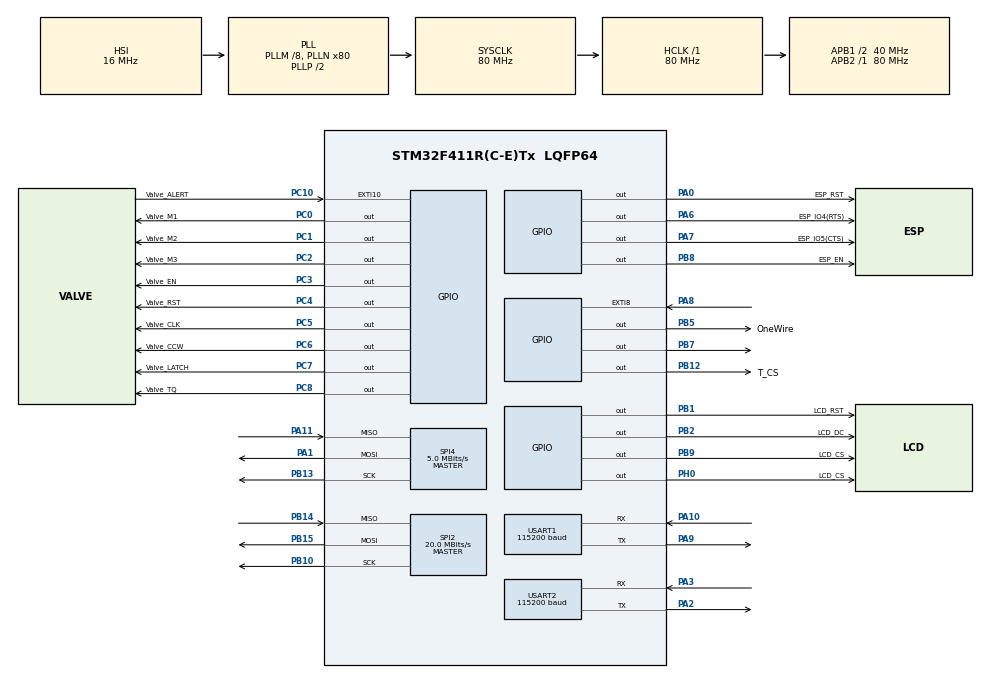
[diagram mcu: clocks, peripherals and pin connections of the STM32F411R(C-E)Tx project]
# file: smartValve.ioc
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Dma.Request0=USART1_RX
Dma.Request1=USART1_TX
Dma.Request2=USART2_TX
Dma.Request3=SPI2_TX
Dma.Request4=SPI4_RX
Dma.Request5=SPI4_TX
Dma.SPI2_TX.3.Direction=DMA_MEMORY_TO_PERIPH
Dma.SPI2_TX.3.FIFOMode=DMA_FIFOMODE_DISABLE
Dma.SPI2_TX.3.Instance=DMA1_Stream4
Dma.SPI2_TX.3.MemDataAlignment=DMA_MDATAALIGN_BYTE
Dma.SPI2_TX.3.MemInc=DMA_MINC_ENABLE
Dma.SPI2_TX.3.Mode=DMA_NORMAL
Dma.SPI2_TX.3.PeriphDataAlignment=DMA_PDATAALIGN_BYTE
Dma.SPI2_TX.3.PeriphInc=DMA_PINC_DISABLE
Dma.SPI2_TX.3.Priority=DMA_PRIORITY_LOW
Dma.SPI4_RX.4.Direction=DMA_PERIPH_TO_MEMORY
Dma.SPI4_RX.4.FIFOMode=DMA_FIFOMODE_DISABLE
Dma.SPI4_RX.4.Instance=DMA2_Stream0
Dma.SPI4_RX.4.MemDataAlignment=DMA_MDATAALIGN_BYTE
Dma.SPI4_RX.4.MemInc=DMA_MINC_ENABLE
Dma.SPI4_RX.4.Mode=DMA_NORMAL
Dma.SPI4_RX.4.PeriphDataAlignment=DMA_PDATAALIGN_BYTE
Dma.SPI4_RX.4.PeriphInc=DMA_PINC_DISABLE
Dma.SPI4_RX.4.Priority=DMA_PRIORITY_LOW
Dma.SPI4_TX.5.Direction=DMA_MEMORY_TO_PERIPH
Dma.SPI4_TX.5.FIFOMode=DMA_FIFOMODE_DISABLE
Dma.SPI4_TX.5.Instance=DMA2_Stream1
Dma.SPI4_TX.5.MemDataAlignment=DMA_MDATAALIGN_BYTE
Dma.SPI4_TX.5.MemInc=DMA_MINC_ENABLE
Dma.SPI4_TX.5.Mode=DMA_NORMAL
Dma.SPI4_TX.5.PeriphDataAlignment=DMA_PDATAALIGN_BYTE
Dma.SPI4_TX.5.PeriphInc=DMA_PINC_DISABLE
Dma.SPI4_TX.5.Priority=DMA_PRIORITY_LOW
Dma.USART1_RX.0.Direction=DMA_PERIPH_TO_MEMORY
Dma.USART1_RX.0.FIFOMode=DMA_FIFOMODE_DISABLE
Dma.USART1_RX.0.Instance=DMA2_Stream5
Dma.USART1_RX.0.MemDataAlignment=DMA_MDATAALIGN_BYTE
Dma.USART1_RX.0.MemInc=DMA_MINC_ENABLE
Dma.USART1_RX.0.Mode=DMA_NORMAL
Dma.USART1_RX.0.PeriphDataAlignment=DMA_PDATAALIGN_BYTE
Dma.USART1_RX.0.PeriphInc=DMA_PINC_DISABLE
Dma.USART1_RX.0.Priority=DMA_PRIORITY_VERY_HIGH
Dma.USART1_TX.1.Direction=DMA_MEMORY_TO_PERIPH
Dma.USART1_TX.1.FIFOMode=DMA_FIFOMODE_DISABLE
Dma.USART1_TX.1.Instance=DMA2_Stream7
Dma.USART1_TX.1.MemDataAlignment=DMA_MDATAALIGN_BYTE
Dma.USART1_TX.1.MemInc=DMA_MINC_ENABLE
Dma.USART1_TX.1.Mode=DMA_NORMAL
Dma.USART1_TX.1.PeriphDataAlignment=DMA_PDATAALIGN_BYTE
Dma.USART1_TX.1.PeriphInc=DMA_PINC_DISABLE
Dma.USART1_TX.1.Priority=DMA_PRIORITY_VERY_HIGH
Dma.USART2_TX.2.Direction=DMA_MEMORY_TO_PERIPH
Dma.USART2_TX.2.FIFOMode=DMA_FIFOMODE_DISABLE
Dma.USART2_TX.2.Instance=DMA1_Stream6
Dma.USART2_TX.2.MemDataAlignment=DMA_MDATAALIGN_BYTE
Dma.USART2_TX.2.MemInc=DMA_MINC_ENABLE
Dma.USART2_TX.2.Mode=DMA_NORMAL
Dma.USART2_TX.2.PeriphDataAlignment=DMA_PDATAALIGN_BYTE
Dma.USART2_TX.2.PeriphInc=DMA_PINC_DISABLE
Dma.USART2_TX.2.Priority=DMA_PRIORITY_LOW
FREERTOS.Events01=UART_RTS,Dynamic,NULL;UART_CTS,Dynamic,NULL;ESP_RECEIVE,Dynamic,NULL;ESP_SEND,Dynamic,NULL;TOUCH_SCREEN_FLAG,Dynamic,NULL
FREERTOS.Mutexes01=valveMutex,Dynamic,NULL,Depleted;uartMutex,Dynamic,NULL,Depleted;ds18b20Mutex,Dynamic,NULL,Depleted;HUART1,Dynamic,NULL,Depleted;HUART2,Dynamic,NULL,Depleted
FREERTOS.Queues01=ESP_BUFFER_RE,16,uint32_t,0,Dynamic,NULL,NULL;ESP_BUFFER_TR,16,uint32_t,0,Dynamic,NULL,NULL;VALVE_BUFFER_RE,16,uint32_t,0,Dynamic,NULL,NULL;VALVE_BUFFER_TR,16,uint32_t,0,Dynamic,NULL,NULL;SerialBuffer,500,uint32_t,0,Dynamic,NULL,NULL;DS18B20_BUFFER,16,uint32_t,0,Dynamic,NULL,NULL;LCD_BUFFER_TRANSMIT,100,uint32_t,0,Dynamic,NULL,NULL
FREERTOS.Tasks01=Main,24,128,mainFunction,Default,NULL,Dynamic,NULL,NULL;Valve,8,128,valveFunction,Default,NULL,Dynamic,NULL,NULL;Uart,24,1024,uartFunction,Default,NULL,Dynamic,NULL,NULL;ds18b20,8,128,ds18b20Function,Default,NULL,Dynamic,NULL,NULL;HuartWorkerTran,12,128,HUART_WORKER_TRANSMIT,Default,NULL,Dynamic,NULL,NULL;HuartWorkerRece,12,128,HUART_WORKER_RECIVE,Default,NULL,Dynamic,NULL,NULL;ds18b20WorkerTr,9,128,DS18B20_WORKER_TR,Default,NULL,Dynamic,NULL,NULL;VALVE_WORKER_RE,11,128,StartTask08,Default,NULL,Dynamic,NULL,NULL;ScreenWorkerRec,24,128,SCREEN_WORKER_RECEIVE,Default,NULL,Dynamic,NULL,NULL;ScreenWorkerTra,24,128,SCREEN_WORKER_TRANSMIT,Default,NULL,Dynamic,NULL,NULL;Backup,8,128,BACKUP_FUNCTION,Default,NULL,Dynamic,NULL,NULL;BackupWorkerRec,8,128,BACKUP_WORKER_RECEIVE,Default,NULL,Dynamic,NULL,NULL;BackupWorkerTra,8,128,BACKUP_WORKER_TRANSMIT,Default,NULL,Dynamic,NULL,NULL;ValveWorkerRece,11,128,VALVE_WORKER_RECEIVE,Default,NULL,Dynamic,NULL,NULL;Screen,8,4048,ScreenFunction,Default,NULL,Dynamic,NULL,NULL;TouchScreen,48,128,TouchScreenFunction,Default,NULL,Dynamic,NULL,NULL;SerialPrint,24,128,PRINT,Default,NULL,Dynamic,NULL,NULL
FREERTOS.configTOTAL_HEAP_SIZE=100000
FREERTOS.configUSE_NEWLIB_REENTRANT=1
Mcu.Family=STM32F4
Mcu.Name=STM32F411R(C-E)Tx
Mcu.Package=LQFP64
NVIC.DMA1_Stream4_IRQn=true\:5\:0\:false\:false\:true\:true\:false\:true\:true
NVIC.DMA1_Stream6_IRQn=true\:5\:0\:true\:false\:true\:true\:false\:true\:true
NVIC.DMA2_Stream0_IRQn=true\:5\:0\:false\:false\:true\:true\:false\:true\:true
NVIC.DMA2_Stream1_IRQn=true\:5\:0\:false\:false\:true\:true\:false\:true\:true
NVIC.DMA2_Stream5_IRQn=true\:6\:0\:true\:false\:true\:true\:false\:true\:true
NVIC.DMA2_Stream7_IRQn=true\:6\:0\:true\:false\:true\:true\:false\:true\:true
NVIC.EXTI15_10_IRQn=true\:8\:0\:true\:false\:true\:true\:true\:true\:true
NVIC.EXTI9_5_IRQn=true\:5\:0\:true\:false\:true\:true\:true\:true\:true
NVIC.FLASH_IRQn=true\:5\:0\:false\:false\:true\:true\:true\:true\:true
NVIC.PVD_IRQn=true\:5\:0\:false\:false\:true\:true\:true\:true\:true
NVIC.PriorityGroup=NVIC_PRIORITYGROUP_4
NVIC.RCC_IRQn=true\:5\:0\:false\:false\:true\:true\:true\:false\:true
NVIC.SPI2_IRQn=true\:5\:0\:false\:false\:true\:true\:true\:true\:true
NVIC.TIM1_TRG_COM_TIM11_IRQn=true\:7\:0\:true\:false\:true\:true\:true\:true\:true
NVIC.TIM1_UP_TIM10_IRQn=true\:5\:0\:true\:false\:true\:false\:true\:true\:true
NVIC.TIM2_IRQn=true\:7\:0\:true\:false\:true\:true\:true\:true\:true
NVIC.TIM3_IRQn=true\:7\:0\:true\:false\:true\:true\:true\:true\:true
NVIC.TimeBase=TIM1_UP_TIM10_IRQn
NVIC.TimeBaseIP=TIM1
NVIC.USART1_IRQn=true\:5\:0\:true\:false\:true\:true\:true\:true\:true
NVIC.USART2_IRQn=true\:5\:0\:true\:false\:true\:true\:true\:true\:true
PA0-WKUP.GPIO_Label=ESP_RST
PA0-WKUP.Signal=GPIO_Output
PA1.Mode=Full_Duplex_Master
PA1.Signal=SPI4_MOSI
PA10.Mode=Asynchronous
PA10.Signal=USART1_RX
PA11.Mode=Full_Duplex_Master
PA11.Signal=SPI4_MISO
PA13.Mode=JTAG_5_pins
PA13.Signal=SYS_JTMS-SWDIO
PA14.Mode=JTAG_5_pins
PA14.Signal=SYS_JTCK-SWCLK
PA15.GPIO_Label=LCD_T_DIN
PA15.Mode=JTAG_5_pins
PA15.Signal=SYS_JTDI
PA2.Mode=Asynchronous
PA2.Signal=USART2_TX
PA3.Mode=Asynchronous
PA3.Signal=USART2_RX
PA6.GPIO_Label=ESP_IO4(RTS)
PA6.GPIO_ModeDefaultOutputPP=GPIO_MODE_OUTPUT_OD
PA6.GPIO_PuPd=GPIO_NOPULL
PA6.Signal=GPIO_Output
PA7.GPIO_Label=ESP_IO5(CTS)
PA7.GPIO_ModeDefaultOutputPP=GPIO_MODE_OUTPUT_OD
PA7.GPIO_PuPd=GPIO_NOPULL
PA7.Signal=GPIO_Output
PA8.GPIO_ModeDefaultEXTI=GPIO_MODE_IT_FALLING
PA8.GPIO_PuPd=GPIO_PULLUP
PA8.Signal=GPXTI8
PA9.Mode=Asynchronous
PA9.Signal=USART1_TX
PB1.GPIO_Label=LCD_RST
PB1.Signal=GPIO_Output
PB10.Mode=Full_Duplex_Master
PB10.Signal=SPI2_SCK
PB12.GPIO_Label=T_CS
PB12.Signal=GPIO_Output
PB13.Mode=Full_Duplex_Master
PB13.Signal=SPI4_SCK
PB14.Mode=Full_Duplex_Master
PB14.Signal=SPI2_MISO
PB15.Mode=Full_Duplex_Master
PB15.Signal=SPI2_MOSI
PB2.GPIO_Label=LCD_DC
PB2.Signal=GPIO_Output
PB3.Mode=JTAG_5_pins
PB3.Signal=SYS_JTDO-SWO
PB4.Mode=JTAG_5_pins
PB4.Signal=SYS_JTRST
PB5.GPIO_Label=OneWire
PB5.GPIO_ModeDefaultOutputPP=GPIO_MODE_OUTPUT_OD
PB5.GPIO_PuPd=GPIO_NOPULL
PB5.GPIO_Speed=GPIO_SPEED_FREQ_HIGH
PB5.PinState=GPIO_PIN_SET
PB5.Signal=GPIO_Output
PB7.Signal=GPIO_Output
PB8.GPIO_Label=ESP_EN
PB8.Signal=GPIO_Output
PB9.GPIO_Label=LCD_CS
PB9.Signal=GPIO_Output
PC0.GPIO_Label=Valve_M1
PC0.Signal=GPIO_Output
PC1.GPIO_Label=Valve_M2
PC1.Signal=GPIO_Output
PC10.GPIO_Label=Valve_ALERT
PC10.Signal=GPXTI10
PC2.GPIO_Label=Valve_M3
PC2.Signal=GPIO_Output
PC3.GPIO_Label=Valve_EN
PC3.Signal=GPIO_Output
PC4.GPIO_Label=Valve_RST
PC4.Signal=GPIO_Output
PC5.GPIO_Label=Valve_CLK
PC5.Signal=GPIO_Output
PC6.GPIO_Label=Valve_CCW
PC6.Signal=GPIO_Output
PC7.GPIO_Label=Valve_LATCH
PC7.Signal=GPIO_Output
PC8.GPIO_Label=Valve_TQ
PC8.Signal=GPIO_Output
PH0\ -\ OSC_IN.GPIO_Label=LCD_CS
PH0\ -\ OSC_IN.Signal=GPIO_Output
ProjectManager.HeapSize=0x200
ProjectManager.StackSize=0x400
ProjectManager.TargetToolchain=STM32CubeIDE
RCC.48MHZClocksFreq_Value=40000000
RCC.AHBFreq_Value=80000000
RCC.APB1CLKDivider=RCC_HCLK_DIV2
RCC.APB1Freq_Value=40000000
RCC.APB1TimFreq_Value=80000000
RCC.APB2Freq_Value=80000000
RCC.APB2TimFreq_Value=80000000
RCC.CortexFreq_Value=80000000
RCC.HCLKFreq_Value=80000000
RCC.HSE_VALUE=25000000
RCC.HSI_VALUE=16000000
RCC.LSE_VALUE=32768
RCC.PLLM=8
RCC.PLLN=80
RCC.SYSCLKFreq_VALUE=80000000
RCC.SYSCLKSource=RCC_SYSCLKSOURCE_PLLCLK
RCC.VCOOutputFreq_Value=160000000
SPI2.CalculateBaudRate=20.0 MBits/s
SPI2.Direction=SPI_DIRECTION_2LINES
SPI2.Mode=SPI_MODE_MASTER
SPI2.VirtualType=VM_MASTER
SPI4.BaudRatePrescaler=SPI_BAUDRATEPRESCALER_16
SPI4.CalculateBaudRate=5.0 MBits/s
SPI4.Direction=SPI_DIRECTION_2LINES
SPI4.Mode=SPI_MODE_MASTER
SPI4.VirtualType=VM_MASTER
STMicroelectronics.X-CUBE-TOUCHGFX.4.25.0_IsPackSelfContextualization=true
TIM10.Period=29999
TIM10.Prescaler=59999
TIM2.Period=79999
TIM2.Prescaler=59999
TIM3.Period=65535
TIM3.Prescaler=15999
USART1.BaudRate=115200
USART1.VirtualMode=VM_ASYNC
USART2.BaudRate=115200
USART2.VirtualMode=VM_ASYNC
VP_CRC_VS_CRC.Mode=CRC_Activate
VP_FREERTOS_VS_CMSIS_V2.Mode=CMSIS_V2
VP_SYS_VS_tim1.Mode=TIM1
VP_TIM10_VS_ClockSourceINT.Mode=Enable_Timer
VP_TIM11_VS_ClockSourceINT.Mode=Enable_Timer
VP_TIM2_VS_ClockSourceINT.Mode=Internal
VP_TIM3_VS_ClockSourceINT.Mode=Internal
board=custom

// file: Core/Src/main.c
/* USER CODE BEGIN Header */
/**
  ******************************************************************************
  * @file           : main.c
  * @brief          : Main program body
  ******************************************************************************
  * @attention
  *
  * Copyright (c) 2025 STMicroelectronics.
  * All rights reserved.
  *
  * This software is licensed under terms that can be found in the LICENSE file
  * in the root directory of this software component.
  * If no LICENSE file comes with this software, it is provided AS-IS.
  *
  ******************************************************************************
  */
/* USER CODE END Header */
#include "main.h"
#include "cmsis_os.h"

/* USER CODE BEGIN Includes */
#include "types.h"
#include "screen.h"
#include "valves.h"
#include "pumps.h"
#include "temperature_control.h"
#include "timer_us.h"
#include "DS18B20.h"
#include "GUI.h"
#include "test.h"
#include "lcd.h"
#include "FONT.h"
#include "temperature_control.h"
#include "stm32f4xx_hal_flash.h"
#include "serial_printing.h"
#include "esp.h"
#include "dma.h"
#include "home_page_layout.h"
/* USER CODE END Includes */

CRC_HandleTypeDef hcrc;

SPI_HandleTypeDef hspi2;
SPI_HandleTypeDef hspi4;
DMA_HandleTypeDef hdma_spi2_tx;
DMA_HandleTypeDef hdma_spi4_rx;
DMA_HandleTypeDef hdma_spi4_tx;

TIM_HandleTypeDef htim2;
TIM_HandleTypeDef htim3;
TIM_HandleTypeDef htim10;
TIM_HandleTypeDef htim11;

UART_HandleTypeDef huart1;
UART_HandleTypeDef huart2;
DMA_HandleTypeDef hdma_usart1_rx;
DMA_HandleTypeDef hdma_usart1_tx;
DMA_HandleTypeDef hdma_usart2_tx;

/* Definitions for Main */
osThreadId_t MainHandle;
const osThreadAttr_t Main_attributes = {
  .name = "Main",
  .stack_size = 128 * 4,
  .priority = (osPriority_t) osPriorityNormal,
};
/* Definitions for Valve */
osThreadId_t ValveHandle;
const osThreadAttr_t Valve_attributes = {
  .name = "Valve",
  .stack_size = 128 * 4,
  .priority = (osPriority_t) osPriorityLow,
};
/* Definitions for Uart */
osThreadId_t UartHandle;
const osThreadAttr_t Uart_attributes = {
  .name = "Uart",
  .stack_size = 1024 * 4,
  .priority = (osPriority_t) osPriorityNormal,
};
/* Definitions for ds18b20 */
osThreadId_t ds18b20Handle;
const osThreadAttr_t ds18b20_attributes = {
  .name = "ds18b20",
  .stack_size = 128 * 4,
  .priority = (osPriority_t) osPriorityLow,
};
/* Definitions for HuartWorkerTran */
osThreadId_t HuartWorkerTranHandle;
const osThreadAttr_t HuartWorkerTran_attributes = {
  .name = "HuartWorkerTran",
  .stack_size = 128 * 4,
  .priority = (osPriority_t) osPriorityLow4,
};
/* Definitions for HuartWorkerRece */
osThreadId_t HuartWorkerReceHandle;
const osThreadAttr_t HuartWorkerRece_attributes = {
  .name = "HuartWorkerRece",
  .stack_size = 128 * 4,
  .priority = (osPriority_t) osPriorityLow4,
};
/* Definitions for ds18b20WorkerTr */
osThreadId_t ds18b20WorkerTrHandle;
const osThreadAttr_t ds18b20WorkerTr_attributes = {
  .name = "ds18b20WorkerTr",
  .stack_size = 128 * 4,
  .priority = (osPriority_t) osPriorityLow1,
};
/* Definitions for VALVE_WORKER_RE */
osThreadId_t VALVE_WORKER_REHandle;
const osThreadAttr_t VALVE_WORKER_RE_attributes = {
  .name = "VALVE_WORKER_RE",
  .stack_size = 128 * 4,
  .priority = (osPriority_t) osPriorityLow3,
};
/* Definitions for ScreenWorkerRec */
osThreadId_t ScreenWorkerRecHandle;
const osThreadAttr_t ScreenWorkerRec_attributes = {
  .name = "ScreenWorkerRec",
  .stack_size = 128 * 4,
  .priority = (osPriority_t) osPriorityNormal,
};
/* Definitions for ScreenWorkerTra */
osThreadId_t ScreenWorkerTraHandle;
const osThreadAttr_t ScreenWorkerTra_attributes = {
  .name = "ScreenWorkerTra",
  .stack_size = 128 * 4,
  .priority = (osPriority_t) osPriorityNormal,
};
/* Definitions for Backup */
osThreadId_t BackupHandle;
const osThreadAttr_t Backup_attributes = {
  .name = "Backup",
  .stack_size = 128 * 4,
  .priority = (osPriority_t) osPriorityLow,
};
/* Definitions for BackupWorkerRec */
osThreadId_t BackupWorkerRecHandle;
const osThreadAttr_t BackupWorkerRec_attributes = {
  .name = "BackupWorkerRec",
  .stack_size = 128 * 4,
  .priority = (osPriority_t) osPriorityLow,
};
/* Definitions for BackupWorkerTra */
osThreadId_t BackupWorkerTraHandle;
const osThreadAttr_t BackupWorkerTra_attributes = {
  .name = "BackupWorkerTra",
  .stack_size = 128 * 4,
  .priority = (osPriority_t) osPriorityLow,
};
/* Definitions for ValveWorkerRece */
osThreadId_t ValveWorkerReceHandle;
const osThreadAttr_t ValveWorkerRece_attributes = {
  .name = "ValveWorkerRece",
  .stack_size = 128 * 4,
  .priority = (osPriority_t) osPriorityLow3,
};
/* Definitions for Screen */
osThreadId_t ScreenHandle;
const osThreadAttr_t Screen_attributes = {
  .name = "Screen",
  .stack_size = 4048 * 4,
  .priority = (osPriority_t) osPriorityLow,
};
/* Definitions for TouchScreen */
osThreadId_t TouchScreenHandle;
const osThreadAttr_t TouchScreen_attributes = {
  .name = "TouchScreen",
  .stack_size = 128 * 4,
  .priority = (osPriority_t) osPriorityRealtime,
};
/* Definitions for SerialPrint */
osThreadId_t SerialPrintHandle;
const osThreadAttr_t SerialPrint_attributes = {
  .name = "SerialPrint",
  .stack_size = 128 * 4,
  .priority = (osPriority_t) osPriorityNormal,
};
/* Definitions for ESP_BUFFER_RE */
osMessageQueueId_t ESP_BUFFER_REHandle;
const osMessageQueueAttr_t ESP_BUFFER_RE_attributes = {
  .name = "ESP_BUFFER_RE"
};
/* Definitions for ESP_BUFFER_TR */
osMessageQueueId_t ESP_BUFFER_TRHandle;
const osMessageQueueAttr_t ESP_BUFFER_TR_attributes = {
  .name = "ESP_BUFFER_TR"
};
/* Definitions for VALVE_BUFFER_RE */
osMessageQueueId_t VALVE_BUFFER_REHandle;
const osMessageQueueAttr_t VALVE_BUFFER_RE_attributes = {
  .name = "VALVE_BUFFER_RE"
};
/* Definitions for VALVE_BUFFER_TR */
osMessageQueueId_t VALVE_BUFFER_TRHandle;
const osMessageQueueAttr_t VALVE_BUFFER_TR_attributes = {
  .name = "VALVE_BUFFER_TR"
};
/* Definitions for SerialBuffer */
osMessageQueueId_t SerialBufferHandle;
const osMessageQueueAttr_t SerialBuffer_attributes = {
  .name = "SerialBuffer"
};
/* Definitions for DS18B20_BUFFER */
osMessageQueueId_t DS18B20_BUFFERHandle;
const osMessageQueueAttr_t DS18B20_BUFFER_attributes = {
  .name = "DS18B20_BUFFER"
};
/* Definitions for LCD_BUFFER_TRANSMIT */
osMessageQueueId_t LCD_BUFFER_TRANSMITHandle;
const osMessageQueueAttr_t LCD_BUFFER_TRANSMIT_attributes = {
  .name = "LCD_BUFFER_TRANSMIT"
};
/* Definitions for valveMutex */
osMutexId_t valveMutexHandle;
const osMutexAttr_t valveMutex_attributes = {
  .name = "valveMutex"
};
/* Definitions for uartMutex */
osMutexId_t uartMutexHandle;
const osMutexAttr_t uartMutex_attributes = {
  .name = "uartMutex"
};
/* Definitions for ds18b20Mutex */
osMutexId_t ds18b20MutexHandle;
const osMutexAttr_t ds18b20Mutex_attributes = {
  .name = "ds18b20Mutex"
};
/* Definitions for HUART1 */
osMutexId_t HUART1Handle;
const osMutexAttr_t HUART1_attributes = {
  .name = "HUART1"
};
/* Definitions for HUART2 */
osMutexId_t HUART2Handle;
const osMutexAttr_t HUART2_attributes = {
  .name = "HUART2"
};
/* Definitions for UART_RTS */
osEventFlagsId_t UART_RTSHandle;
const osEventFlagsAttr_t UART_RTS_attributes = {
  .name = "UART_RTS"
};
/* Definitions for UART_CTS */
osEventFlagsId_t UART_CTSHandle;
const osEventFlagsAttr_t UART_CTS_attributes = {
  .name = "UART_CTS"
};
/* Definitions for ESP_RECEIVE */
osEventFlagsId_t ESP_RECEIVEHandle;
const osEventFlagsAttr_t ESP_RECEIVE_attributes = {
  .name = "ESP_RECEIVE"
};
/* Definitions for ESP_SEND */
osEventFlagsId_t ESP_SENDHandle;
const osEventFlagsAttr_t ESP_SEND_attributes = {
  .name = "ESP_SEND"
};
/* Definitions for TOUCH_SCREEN_FLAG */
osEventFlagsId_t TOUCH_SCREEN_FLAGHandle;
const osEventFlagsAttr_t TOUCH_SCREEN_FLAG_attributes = {
  .name = "TOUCH_SCREEN_FLAG"
};
/* USER CODE BEGIN PV */

osMemoryPoolId_t SETTINGS_POOLHandle;
const osMemoryPoolAttr_t SETTINGS_POOL_attributes ={
		.name = "SETTINGS_POOL"
};

osMemoryPoolId_t CANVAS_POOLHandle;
const osMemoryPoolAttr_t CANVAS_POOL_attributes ={
		.name = "CANVAS"
};

osMemoryPoolId_t PAGE_POOLHandle;
const osMemoryPoolAttr_t PAGE_POOL_attributes ={
		.name = "PAGE"
};

osMemoryPoolId_t VIEW_POOLHandle;
const osMemoryPoolAttr_t VIEW_POOL_attributes ={
		.name = "VIEW"
};

osMemoryPoolId_t NODE_POOLHandle;
const osMemoryPoolAttr_t NODE_POOL_attributes ={
		.name = "NODE"
};

uint8_t buffer[1];
uint8_t flag;
uint8_t act;
uint8_t command;
uint8_t page;
uint8_t temp_step;
float calc;
float hot_temp;
float terminal_temp;

uint32_t address = 0x08060000;
uint32_t *p = (uint32_t *)0x08060000;

DS18B20 ds18b20_terminal = {
	.SERIAL_NUMBER = {0x28, 0x50, 0x3A, 0x85, 0x00, 0x00, 0x00, 0x51},
	.temperature = 0,
	.delta = 0,
	.pos = 7
};
DS18B20 ds18b20_hot = {
	.SERIAL_NUMBER = {0x28, 0x7F, 0xF8, 0x87, 0x00, 0x00, 0x00, 0x65},
	.temperature = 0,
	.delta = 0,
	.pos = 6
};

Water water;
Valve valve;
ERR err;
ERR_STRING err_string;

Valve valve ={
		.current_steps = 0,
		.degPerStep = 1.8,
		.steps = 0,
		.save_step = 0,
		.aprox = 0
};

Pressed pressed ={
		.Y_ = 0x00, // 0b0000 0 <1,4,7, CLR> <2, 5, 8, 0> <3, 6, 9, SET>
		.X_ = 0x00	// 0b<1, 2, 3> <4, 5, 6> <7, 8, 9> <CLR, 0, SET> 0000
};

Button button ={
		.c = {0},
		.value = -1,
		.data = 0,
		.valid = false,
		.n = 0,
		.rst = false,
		.set = false,
		.temp_set = 0
};

CMD cmd = {
	.args[0] = {0},
	.args[1] = {0},
	.args[2] = {0},
	.args[3] = {0},
	.cmd_all = {0},
	.command = {0},
	.origin = {0},
	.protocol = {0},
	.status_busy = false
};

uint8_t rxBuffer[2] = {0};
uint32_t FLAG_UART = 0x00;
uint32_t len = 1024;

ESP_DATA_CONTROL esp = {
	.checksum = 0x00,
	.esp_uart_buffer_rx = {0},
	.esp_uart_buffer_tx = {0},
	.rx_status = HAL_BUSY,
	.tx_status = HAL_BUSY,
	.huart = &huart1,
	.checksum_s = {0},
	.esp_buffer = {0},
	.huart_test = &huart2,
	.ESP_BUFFER_REHandle = &ESP_BUFFER_REHandle,
	.ESP_BUFFER_TRHandle = &ESP_BUFFER_TRHandle
};

/* USER CODE END PV */

void SystemClock_Config(void);
static void MX_GPIO_Init(void);
static void MX_DMA_Init(void);
static void MX_USART1_UART_Init(void);
static void MX_USART2_UART_Init(void);
static void MX_TIM3_Init(void);
static void MX_TIM10_Init(void);
static void MX_SPI2_Init(void);
static void MX_TIM11_Init(void);
static void MX_SPI4_Init(void);
static void MX_TIM2_Init(void);
static void MX_CRC_Init(void);
void mainFunction(void *argument);
void valveFunction(void *argument);
void uartFunction(void *argument);
void ds18b20Function(void *argument);
void HUART_WORKER_TRANSMIT(void *argument);
void HUART_WORKER_RECIVE(void *argument);
void DS18B20_WORKER_TR(void *argument);
void StartTask08(void *argument);
void SCREEN_WORKER_RECEIVE(void *argument);
void SCREEN_WORKER_TRANSMIT(void *argument);
void BACKUP_FUNCTION(void *argument);
void BACKUP_WORKER_RECEIVE(void *argument);
void BACKUP_WORKER_TRANSMIT(void *argument);
void VALVE_WORKER_RECEIVE(void *argument);
void ScreenFunction(void *argument);
void TouchScreenFunction(void *argument);
void PRINT(void *argument);

/* USER CODE BEGIN PFP */
void HAL_NVIC_EnableIRQ(IRQn_Type IRQn);
void getFloatString(char *buffer, float number);

 float temp_set_f;
 char temp_set_c[1];
 char temp_set_c_number[30];

/* USER CODE END PFP */

int main(void)
{

  /* USER CODE BEGIN 1 */
	//esp.ESP_BUFFER_REHandle = ESP_BUFFER_REHandle;
	//esp.ESP_BUFFER_TRHandle = ESP_BUFFER_TRHandle;
  /* USER CODE END 1 */

  /* MCU Configuration--------------------------------------------------------*/

  /* Reset of all peripherals, Initializes the Flash interface and the Systick. */
  HAL_Init();

  /* Configure the system clock */
  SystemClock_Config();

  /* Initialize all configured peripherals */
  MX_GPIO_Init();
  MX_DMA_Init();
  MX_USART1_UART_Init();
  MX_USART2_UART_Init();
  MX_TIM3_Init();
  MX_TIM10_Init();
  MX_SPI2_Init();
  MX_TIM11_Init();
  MX_SPI4_Init();
  MX_TIM2_Init();
  MX_CRC_Init();
  /* USER CODE BEGIN 2 */
  LCD_Init();
  HAL_Delay(1000);
  LCD_DrawPage1();
  HAL_Delay(1000);
  TIMER_US_INIT();
  //VALVE_MODE_FULL_CW();

  flag = 0x00;
  page = 0x01;
  command = 0x0;
  act = 0x00;

  //uint32_t *p = (uint32_t *)FLASH_ADDRESS;
  //int h = *p;

  /* USER CODE END 2 */

  /* Init scheduler */
  osKernelInitialize();
  /* Create the mutex(es) */
  /* creation of valveMutex */
  valveMutexHandle = osMutexNew(&valveMutex_attributes);

  /* creation of uartMutex */
  uartMutexHandle = osMutexNew(&uartMutex_attributes);

  /* creation of ds18b20Mutex */
  ds18b20MutexHandle = osMutexNew(&ds18b20Mutex_attributes);

  /* creation of HUART1 */
  HUART1Handle = osMutexNew(&HUART1_attributes);

  /* creation of HUART2 */
  HUART2Handle = osMutexNew(&HUART2_attributes);

  /* Create the queue(s) */
  /* creation of ESP_BUFFER_RE */
  ESP_BUFFER_REHandle = osMessageQueueNew (16, sizeof(uint32_t), &ESP_BUFFER_RE_attributes);

  /* creation of ESP_BUFFER_TR */
  ESP_BUFFER_TRHandle = osMessageQueueNew (16, sizeof(uint32_t), &ESP_BUFFER_TR_attributes);

  /* creation of VALVE_BUFFER_RE */
  VALVE_BUFFER_REHandle = osMessageQueueNew (16, sizeof(uint32_t), &VALVE_BUFFER_RE_attributes);

  /* creation of VALVE_BUFFER_TR */
  VALVE_BUFFER_TRHandle = osMessageQueueNew (16, sizeof(uint32_t), &VALVE_BUFFER_TR_attributes);

  /* creation of SerialBuffer */
  SerialBufferHandle = osMessageQueueNew (500, sizeof(uint32_t), &SerialBuffer_attributes);

  /* creation of DS18B20_BUFFER */
  DS18B20_BUFFERHandle = osMessageQueueNew (16, sizeof(uint32_t), &DS18B20_BUFFER_attributes);

  /* creation of LCD_BUFFER_TRANSMIT */
  LCD_BUFFER_TRANSMITHandle = osMessageQueueNew (100, sizeof(uint32_t), &LCD_BUFFER_TRANSMIT_attributes);

  /* Create the thread(s) */
  /* creation of Main */
  MainHandle = osThreadNew(mainFunction, NULL, &Main_attributes);

  /* creation of Valve */
  ValveHandle = osThreadNew(valveFunction, NULL, &Valve_attributes);

  /* creation of Uart */
  UartHandle = osThreadNew(uartFunction, NULL, &Uart_attributes);

  /* creation of ds18b20 */
  ds18b20Handle = osThreadNew(ds18b20Function, NULL, &ds18b20_attributes);

  /* creation of HuartWorkerTran */
  HuartWorkerTranHandle = osThreadNew(HUART_WORKER_TRANSMIT, NULL, &HuartWorkerTran_attributes);

  /* creation of HuartWorkerRece */
  HuartWorkerReceHandle = osThreadNew(HUART_WORKER_RECIVE, NULL, &HuartWorkerRece_attributes);

  /* creation of ds18b20WorkerTr */
  ds18b20WorkerTrHandle = osThreadNew(DS18B20_WORKER_TR, NULL, &ds18b20WorkerTr_attributes);

  /* creation of VALVE_WORKER_RE */
  VALVE_WORKER_REHandle = osThreadNew(StartTask08, NULL, &VALVE_WORKER_RE_attributes);

  /* creation of ScreenWorkerRec */
  ScreenWorkerRecHandle = osThreadNew(SCREEN_WORKER_RECEIVE, NULL, &ScreenWorkerRec_attributes);

  /* creation of ScreenWorkerTra */
  ScreenWorkerTraHandle = osThreadNew(SCREEN_WORKER_TRANSMIT, NULL, &ScreenWorkerTra_attributes);

  /* creation of Backup */
  BackupHandle = osThreadNew(BACKUP_FUNCTION, NULL, &Backup_attributes);

  /* creation of BackupWorkerRec */
  BackupWorkerRecHandle = osThreadNew(BACKUP_WORKER_RECEIVE, NULL, &BackupWorkerRec_attributes);

  /* creation of BackupWorkerTra */
  BackupWorkerTraHandle = osThreadNew(BACKUP_WORKER_TRANSMIT, NULL, &BackupWorkerTra_attributes);

  /* creation of ValveWorkerRece */
  ValveWorkerReceHandle = osThreadNew(VALVE_WORKER_RECEIVE, NULL, &ValveWorkerRece_attributes);

  /* creation of Screen */
  ScreenHandle = osThreadNew(ScreenFunction, NULL, &Screen_attributes);

  /* creation of TouchScreen */
  TouchScreenHandle = osThreadNew(TouchScreenFunction, NULL, &TouchScreen_attributes);

  /* creation of SerialPrint */
  SerialPrintHandle = osThreadNew(PRINT, NULL, &SerialPrint_attributes);

  /* creation of UART_RTS */
  UART_RTSHandle = osEventFlagsNew(&UART_RTS_attributes);

  /* creation of UART_CTS */
  UART_CTSHandle = osEventFlagsNew(&UART_CTS_attributes);

  /* creation of ESP_RECEIVE */
  ESP_RECEIVEHandle = osEventFlagsNew(&ESP_RECEIVE_attributes);

  /* creation of ESP_SEND */
  ESP_SENDHandle = osEventFlagsNew(&ESP_SEND_attributes);

  /* creation of TOUCH_SCREEN_FLAG */
  TOUCH_SCREEN_FLAGHandle = osEventFlagsNew(&TOUCH_SCREEN_FLAG_attributes);

  /* Start scheduler */
  osKernelStart();

  /* We should never get here as control is now taken by the scheduler */

  /* Infinite loop */
  /* USER CODE BEGIN WHILE */
  char terminalBuffer[100]; char hotBuffer[100];
  char updateMsg[300];

	while(1){
    /* USER CODE END WHILE */

    /* USER CODE BEGIN 3 */
		// Handle command flags
		COMMAND_HANDLE(&htim10, &htim2, &command);
		// Handle touch screen interrupt
		if((flag & SCAN_PAD) != 0){
			//SCAN_HANDLE(&hspi4, &huart2, &button, &pressed, &act, &flag, &PAGE);
			flag &= (~SCAN_PAD);}

		// Update temperatures, storing them in the Struct.
		if((act & TEMP_UPDATE_) == TEMP_UPDATE_){
			LCD_typeDebug("reading temperature");
			terminal_temp = ds18b20_get_temperature(&ds18b20_terminal, false, &huart2);
			hot_temp = ds18b20_get_temperature(&ds18b20_hot, false, &huart2);

			ds18b20_terminal.delta = terminal_temp - ds18b20_terminal.temperature;
			ds18b20_hot.delta = hot_temp - ds18b20_hot.temperature;

			ds18b20_terminal.temperature = terminal_temp;
			ds18b20_hot.temperature = hot_temp;
			act = act & (~TEMP_UPDATE_);
		    // Update the User's screen controller
			getFloatString(terminalBuffer, terminal_temp);
			getFloatString(hotBuffer, hot_temp);
			sprintf(updateMsg, "UPDATE %d %s %s %d", button.data, terminalBuffer, hotBuffer, valve.current_steps);
		    HAL_UART_Transmit(&huart1, (uint8_t *)updateMsg,strlen(updateMsg), 100);}

		if(((act & TEMP_GET_VALV_APROX) == TEMP_GET_VALV_APROX)){
			VALVE_CONTROL_APROX(&valve); // Open Valve to approximate position
			act &= (~TEMP_GET_VALV_APROX);
			command |= RUN;} // Clear bit flag

		if(((command & RUN) == RUN) && (command & RUN_) == RUN_){
			VALVE_CONTROL_RUN(&valve, &ds18b20_terminal, &button);
			command = command & (~RUN_);}

		switch (page){
			case 0x01: // Home Page
				//LCD_HANDLE_PAGE_1(&PAGE, &act, &command);
				break;
			case 0x02: // Readings Page
				break;
		}

		HAL_Delay(10);
	}
  /* USER CODE END 3 */
}

void SystemClock_Config(void)
{
  RCC_OscInitTypeDef RCC_OscInitStruct = {0};
  RCC_ClkInitTypeDef RCC_ClkInitStruct = {0};

  /** Configure the main internal regulator output voltage
  */
  __HAL_RCC_PWR_CLK_ENABLE();
  __HAL_PWR_VOLTAGESCALING_CONFIG(PWR_REGULATOR_VOLTAGE_SCALE1);

  /** Initializes the RCC Oscillators according to the specified parameters
  * in the RCC_OscInitTypeDef structure.
  */
  RCC_OscInitStruct.OscillatorType = RCC_OSCILLATORTYPE_HSI;
  RCC_OscInitStruct.HSIState = RCC_HSI_ON;
  RCC_OscInitStruct.HSICalibrationValue = RCC_HSICALIBRATION_DEFAULT;
  RCC_OscInitStruct.PLL.PLLState = RCC_PLL_ON;
  RCC_OscInitStruct.PLL.PLLSource = RCC_PLLSOURCE_HSI;
  RCC_OscInitStruct.PLL.PLLM = 8;
  RCC_OscInitStruct.PLL.PLLN = 80;
  RCC_OscInitStruct.PLL.PLLP = RCC_PLLP_DIV2;
  RCC_OscInitStruct.PLL.PLLQ = 4;
  if (HAL_RCC_OscConfig(&RCC_OscInitStruct) != HAL_OK)
  {
    Error_Handler();
  }

  /** Initializes the CPU, AHB and APB buses clocks
  */
  RCC_ClkInitStruct.ClockType = RCC_CLOCKTYPE_HCLK|RCC_CLOCKTYPE_SYSCLK
                              |RCC_CLOCKTYPE_PCLK1|RCC_CLOCKTYPE_PCLK2;
  RCC_ClkInitStruct.SYSCLKSource = RCC_SYSCLKSOURCE_PLLCLK;
  RCC_ClkInitStruct.AHBCLKDivider = RCC_SYSCLK_DIV1;
  RCC_ClkInitStruct.APB1CLKDivider = RCC_HCLK_DIV2;
  RCC_ClkInitStruct.APB2CLKDivider = RCC_HCLK_DIV1;

  if (HAL_RCC_ClockConfig(&RCC_ClkInitStruct, FLASH_LATENCY_2) != HAL_OK)
  {
    Error_Handler();
  }
}

static void MX_CRC_Init(void)
{

  hcrc.Instance = CRC;
  if (HAL_CRC_Init(&hcrc) != HAL_OK)
  {
    Error_Handler();
  }

}

static void MX_SPI2_Init(void)
{

  /* SPI2 parameter configuration*/
  hspi2.Instance = SPI2;
  hspi2.Init.Mode = SPI_MODE_MASTER;
  hspi2.Init.Direction = SPI_DIRECTION_2LINES;
  hspi2.Init.DataSize = SPI_DATASIZE_8BIT;
  hspi2.Init.CLKPolarity = SPI_POLARITY_LOW;
  hspi2.Init.CLKPhase = SPI_PHASE_1EDGE;
  hspi2.Init.NSS = SPI_NSS_SOFT;
  hspi2.Init.BaudRatePrescaler = SPI_BAUDRATEPRESCALER_2;
  hspi2.Init.FirstBit = SPI_FIRSTBIT_MSB;
  hspi2.Init.TIMode = SPI_TIMODE_DISABLE;
  hspi2.Init.CRCCalculation = SPI_CRCCALCULATION_DISABLE;
  hspi2.Init.CRCPolynomial = 10;
  if (HAL_SPI_Init(&hspi2) != HAL_OK)
  {
    Error_Handler();
  }

}

static void MX_SPI4_Init(void)
{

  /* SPI4 parameter configuration*/
  hspi4.Instance = SPI4;
  hspi4.Init.Mode = SPI_MODE_MASTER;
  hspi4.Init.Direction = SPI_DIRECTION_2LINES;
  hspi4.Init.DataSize = SPI_DATASIZE_8BIT;
  hspi4.Init.CLKPolarity = SPI_POLARITY_LOW;
  hspi4.Init.CLKPhase = SPI_PHASE_1EDGE;
  hspi4.Init.NSS = SPI_NSS_SOFT;
  hspi4.Init.BaudRatePrescaler = SPI_BAUDRATEPRESCALER_16;
  hspi4.Init.FirstBit = SPI_FIRSTBIT_MSB;
  hspi4.Init.TIMode = SPI_TIMODE_DISABLE;
  hspi4.Init.CRCCalculation = SPI_CRCCALCULATION_DISABLE;
  hspi4.Init.CRCPolynomial = 10;
  if (HAL_SPI_Init(&hspi4) != HAL_OK)
  {
    Error_Handler();
  }

}

static void MX_TIM2_Init(void)
{

  TIM_ClockConfigTypeDef sClockSourceConfig = {0};
  TIM_MasterConfigTypeDef sMasterConfig = {0};

  htim2.Instance = TIM2;
  htim2.Init.Prescaler = 59999;
  htim2.Init.CounterMode = TIM_COUNTERMODE_UP;
  htim2.Init.Period = 79999;
  htim2.Init.ClockDivision = TIM_CLOCKDIVISION_DIV1;
  htim2.Init.AutoReloadPreload = TIM_AUTORELOAD_PRELOAD_DISABLE;
  if (HAL_TIM_Base_Init(&htim2) != HAL_OK)
  {
    Error_Handler();
  }
  sClockSourceConfig.ClockSource = TIM_CLOCKSOURCE_INTERNAL;
  if (HAL_TIM_ConfigClockSource(&htim2, &sClockSourceConfig) != HAL_OK)
  {
    Error_Handler();
  }
  sMasterConfig.MasterOutputTrigger = TIM_TRGO_RESET;
  sMasterConfig.MasterSlaveMode = TIM_MASTERSLAVEMODE_DISABLE;
  if (HAL_TIMEx_MasterConfigSynchronization(&htim2, &sMasterConfig) != HAL_OK)
  {
    Error_Handler();
  }

}

static void MX_TIM3_Init(void)
{

  TIM_ClockConfigTypeDef sClockSourceConfig = {0};
  TIM_MasterConfigTypeDef sMasterConfig = {0};

  htim3.Instance = TIM3;
  htim3.Init.Prescaler = 15999;
  htim3.Init.CounterMode = TIM_COUNTERMODE_UP;
  htim3.Init.Period = 65535;
  htim3.Init.ClockDivision = TIM_CLOCKDIVISION_DIV1;
  htim3.Init.AutoReloadPreload = TIM_AUTORELOAD_PRELOAD_DISABLE;
  if (HAL_TIM_Base_Init(&htim3) != HAL_OK)
  {
    Error_Handler();
  }
  sClockSourceConfig.ClockSource = TIM_CLOCKSOURCE_INTERNAL;
  if (HAL_TIM_ConfigClockSource(&htim3, &sClockSourceConfig) != HAL_OK)
  {
    Error_Handler();
  }
  sMasterConfig.MasterOutputTrigger = TIM_TRGO_RESET;
  sMasterConfig.MasterSlaveMode = TIM_MASTERSLAVEMODE_DISABLE;
  if (HAL_TIMEx_MasterConfigSynchronization(&htim3, &sMasterConfig) != HAL_OK)
  {
    Error_Handler();
  }

}

static void MX_TIM10_Init(void)
{

  htim10.Instance = TIM10;
  htim10.Init.Prescaler = 59999;
  htim10.Init.CounterMode = TIM_COUNTERMODE_UP;
  htim10.Init.Period = 29999;
  htim10.Init.ClockDivision = TIM_CLOCKDIVISION_DIV1;
  htim10.Init.AutoReloadPreload = TIM_AUTORELOAD_PRELOAD_DISABLE;
  if (HAL_TIM_Base_Init(&htim10) != HAL_OK)
  {
    Error_Handler();
  }

}

static void MX_TIM11_Init(void)
{

  htim11.Instance = TIM11;
  htim11.Init.Prescaler = 0;
  htim11.Init.CounterMode = TIM_COUNTERMODE_UP;
  htim11.Init.Period = 65535;
  htim11.Init.ClockDivision = TIM_CLOCKDIVISION_DIV1;
  htim11.Init.AutoReloadPreload = TIM_AUTORELOAD_PRELOAD_DISABLE;
  if (HAL_TIM_Base_Init(&htim11) != HAL_OK)
  {
    Error_Handler();
  }

}

static void MX_USART1_UART_Init(void)
{

  huart1.Instance = USART1;
  huart1.Init.BaudRate = 115200;
  huart1.Init.WordLength = UART_WORDLENGTH_8B;
  huart1.Init.StopBits = UART_STOPBITS_1;
  huart1.Init.Parity = UART_PARITY_NONE;
  huart1.Init.Mode = UART_MODE_TX_RX;
  huart1.Init.HwFlowCtl = UART_HWCONTROL_NONE;
  huart1.Init.OverSampling = UART_OVERSAMPLING_16;
  if (HAL_UART_Init(&huart1) != HAL_OK)
  {
    Error_Handler();
  }
  /* USER CODE BEGIN USART1_Init 2 */
  esp.rx_status = HAL_OK;
  esp.tx_status = HAL_OK;
  /* USER CODE END USART1_Init 2 */

}

static void MX_USART2_UART_Init(void)
{

  huart2.Instance = USART2;
  huart2.Init.BaudRate = 115200;
  huart2.Init.WordLength = UART_WORDLENGTH_8B;
  huart2.Init.StopBits = UART_STOPBITS_1;
  huart2.Init.Parity = UART_PARITY_NONE;
  huart2.Init.Mode = UART_MODE_TX_RX;
  huart2.Init.HwFlowCtl = UART_HWCONTROL_NONE;
  huart2.Init.OverSampling = UART_OVERSAMPLING_16;
  if (HAL_UART_Init(&huart2) != HAL_OK)
  {
    Error_Handler();
  }

}

static void MX_DMA_Init(void)
{

  /* DMA controller clock enable */
  __HAL_RCC_DMA2_CLK_ENABLE();
  __HAL_RCC_DMA1_CLK_ENABLE();

  /* DMA interrupt init */
  /* DMA1_Stream4_IRQn interrupt configuration */
  HAL_NVIC_SetPriority(DMA1_Stream4_IRQn, 5, 0);
  HAL_NVIC_EnableIRQ(DMA1_Stream4_IRQn);
  /* DMA1_Stream6_IRQn interrupt configuration */
  HAL_NVIC_SetPriority(DMA1_Stream6_IRQn, 5, 0);
  HAL_NVIC_EnableIRQ(DMA1_Stream6_IRQn);
  /* DMA2_Stream0_IRQn interrupt configuration */
  HAL_NVIC_SetPriority(DMA2_Stream0_IRQn, 5, 0);
  HAL_NVIC_EnableIRQ(DMA2_Stream0_IRQn);
  /* DMA2_Stream1_IRQn interrupt configuration */
  HAL_NVIC_SetPriority(DMA2_Stream1_IRQn, 5, 0);
  HAL_NVIC_EnableIRQ(DMA2_Stream1_IRQn);
  /* DMA2_Stream5_IRQn interrupt configuration */
  HAL_NVIC_SetPriority(DMA2_Stream5_IRQn, 6, 0);
  HAL_NVIC_EnableIRQ(DMA2_Stream5_IRQn);
  /* DMA2_Stream7_IRQn interrupt configuration */
  HAL_NVIC_SetPriority(DMA2_Stream7_IRQn, 6, 0);
  HAL_NVIC_EnableIRQ(DMA2_Stream7_IRQn);

}

static void MX_GPIO_Init(void)
{
  GPIO_InitTypeDef GPIO_InitStruct = {0};

  /* GPIO Ports Clock Enable */
  __HAL_RCC_GPIOH_CLK_ENABLE();
  __HAL_RCC_GPIOC_CLK_ENABLE();
  __HAL_RCC_GPIOA_CLK_ENABLE();
  __HAL_RCC_GPIOB_CLK_ENABLE();

  /*Configure GPIO pin Output Level */
  HAL_GPIO_WritePin(LCD_CS_GPIO_Port, LCD_CS_Pin, GPIO_PIN_RESET);

  /*Configure GPIO pin Output Level */
  HAL_GPIO_WritePin(GPIOC, Valve_M1_Pin|Valve_M2_Pin|Valve_M3_Pin|Valve_EN_Pin
                          |Valve_RST_Pin|Valve_CLK_Pin|Valve_CCW_Pin|Valve_LATCH_Pin
                          |Valve_TQ_Pin, GPIO_PIN_RESET);

  /*Configure GPIO pin Output Level */
  HAL_GPIO_WritePin(GPIOA, ESP_RST_Pin|ESP_IO4_Pin|ESP_IO5_Pin, GPIO_PIN_RESET);

  /*Configure GPIO pin Output Level */
  HAL_GPIO_WritePin(GPIOB, LCD_RST_Pin|LCD_DC_Pin|T_CS_Pin|GPIO_PIN_7
                          |ESP_EN_Pin|LCD_CSB9_Pin, GPIO_PIN_RESET);

  /*Configure GPIO pin Output Level */
  HAL_GPIO_WritePin(OneWire_GPIO_Port, OneWire_Pin, GPIO_PIN_SET);

  /*Configure GPIO pin : LCD_CS_Pin */
  GPIO_InitStruct.Pin = LCD_CS_Pin;
  GPIO_InitStruct.Mode = GPIO_MODE_OUTPUT_PP;
  GPIO_InitStruct.Pull = GPIO_NOPULL;
  GPIO_InitStruct.Speed = GPIO_SPEED_FREQ_LOW;
  HAL_GPIO_Init(LCD_CS_GPIO_Port, &GPIO_InitStruct);

  /*Configure GPIO pins : Valve_M1_Pin Valve_M2_Pin Valve_M3_Pin Valve_EN_Pin
                           Valve_RST_Pin Valve_CLK_Pin Valve_CCW_Pin Valve_LATCH_Pin
                           Valve_TQ_Pin */
  GPIO_InitStruct.Pin = Valve_M1_Pin|Valve_M2_Pin|Valve_M3_Pin|Valve_EN_Pin
                          |Valve_RST_Pin|Valve_CLK_Pin|Valve_CCW_Pin|Valve_LATCH_Pin
                          |Valve_TQ_Pin;
  GPIO_InitStruct.Mode = GPIO_MODE_OUTPUT_PP;
  GPIO_InitStruct.Pull = GPIO_NOPULL;
  GPIO_InitStruct.Speed = GPIO_SPEED_FREQ_LOW;
  HAL_GPIO_Init(GPIOC, &GPIO_InitStruct);

  /*Configure GPIO pin : ESP_RST_Pin */
  GPIO_InitStruct.Pin = ESP_RST_Pin;
  GPIO_InitStruct.Mode = GPIO_MODE_OUTPUT_PP;
  GPIO_InitStruct.Pull = GPIO_NOPULL;
  GPIO_InitStruct.Speed = GPIO_SPEED_FREQ_LOW;
  HAL_GPIO_Init(ESP_RST_GPIO_Port, &GPIO_InitStruct);

  /*Configure GPIO pins : ESP_IO4_Pin ESP_IO5_Pin */
  GPIO_InitStruct.Pin = ESP_IO4_Pin|ESP_IO5_Pin;
  GPIO_InitStruct.Mode = GPIO_MODE_OUTPUT_OD;
  GPIO_InitStruct.Pull = GPIO_NOPULL;
  GPIO_InitStruct.Speed = GPIO_SPEED_FREQ_LOW;
  HAL_GPIO_Init(GPIOA, &GPIO_InitStruct);

  /*Configure GPIO pins : LCD_RST_Pin LCD_DC_Pin T_CS_Pin PB7
                           ESP_EN_Pin LCD_CSB9_Pin */
  GPIO_InitStruct.Pin = LCD_RST_Pin|LCD_DC_Pin|T_CS_Pin|GPIO_PIN_7
                          |ESP_EN_Pin|LCD_CSB9_Pin;
  GPIO_InitStruct.Mode = GPIO_MODE_OUTPUT_PP;
  GPIO_InitStruct.Pull = GPIO_NOPULL;
  GPIO_InitStruct.Speed = GPIO_SPEED_FREQ_LOW;
  HAL_GPIO_Init(GPIOB, &GPIO_InitStruct);

  /*Configure GPIO pin : PA8 */
  GPIO_InitStruct.Pin = GPIO_PIN_8;
  GPIO_InitStruct.Mode = GPIO_MODE_IT_FALLING;
  GPIO_InitStruct.Pull = GPIO_PULLUP;
  HAL_GPIO_Init(GPIOA, &GPIO_InitStruct);

  /*Configure GPIO pin : Valve_ALERT_Pin */
  GPIO_InitStruct.Pin = Valve_ALERT_Pin;
  GPIO_InitStruct.Mode = GPIO_MODE_IT_RISING;
  GPIO_InitStruct.Pull = GPIO_NOPULL;
  HAL_GPIO_Init(Valve_ALERT_GPIO_Port, &GPIO_InitStruct);

  /*Configure GPIO pin : OneWire_Pin */
  GPIO_InitStruct.Pin = OneWire_Pin;
  GPIO_InitStruct.Mode = GPIO_MODE_OUTPUT_OD;
  GPIO_InitStruct.Pull = GPIO_NOPULL;
  GPIO_InitStruct.Speed = GPIO_SPEED_FREQ_HIGH;
  HAL_GPIO_Init(OneWire_GPIO_Port, &GPIO_InitStruct);

  /* EXTI interrupt init*/
  HAL_NVIC_SetPriority(EXTI9_5_IRQn, 5, 0);
  HAL_NVIC_EnableIRQ(EXTI9_5_IRQn);

  HAL_NVIC_SetPriority(EXTI15_10_IRQn, 8, 0);
  HAL_NVIC_EnableIRQ(EXTI15_10_IRQn);

/* USER CODE BEGIN MX_GPIO_Init_2 */
  HAL_NVIC_SetPriority(USART1_IRQn, 5, 0);
  HAL_NVIC_EnableIRQ(USART1_IRQn);

/* USER CODE END MX_GPIO_Init_2 */
}

/* USER CODE BEGIN 4 */

void HAL_GPIO_EXTI_Callback(uint16_t GPIO_Pin){
	if (GPIO_Pin == GPIO_PIN_8)
	    {
		static uint32_t last_interrupt_tick = 0;
		uint32_t current_tick = HAL_GetTick();

		// This is the debounce logic:
		// Only process this interrupt if more than 50ms have passed since the last one.
		if (current_tick - last_interrupt_tick > 50)
		{
			// This is a valid, debounced event.
			// Update the time of the last valid interrupt.
			last_interrupt_tick = current_tick;

			// Now, safely set your event flag.
			// This needs to be the ISR-safe version if you are using native FreeRTOS.
			// Since you are using CMSIS-OS v2, you might need a different mechanism
			// like osEventFlagsSet from another task, or better yet, a semaphore.
			// Let's assume you have a semaphore for this:
			 osEventFlagsSet(TOUCH_SCREEN_FLAGHandle, SCAN_PAD);
		}
		// If an interrupt arrives within the 50ms window, it is ignored.
	}
}

void getFloatString(char *buffer, float number){
	int intNumber = (int)floor(number);
	int floatNumber = (int)((number - (float)intNumber)*10000);
	sprintf(buffer, "%d.%d°C\n", intNumber, floatNumber);
}

void HAL_UARTEx_RxEventCallback(UART_HandleTypeDef *huart, uint16_t Size) {
    if (huart->Instance == USART1) {
        SET_CTS;      // Clear CTS
        FLAG_UART |= ESP_MSG_COMPLETE;
        FLAG_UART |= ESP_UART_RELEASE_MUTEX;
    }
}

void HAL_UART_TxCpltCallback(UART_HandleTypeDef *huart) {
    // Your custom code here
	if(huart->Instance == USART1){
		FLAG_UART |= ESP_MSG_ACK_SENT;
	}
}

void ERR_INIT(ERR_STRING *err_String){
}

/* USER CODE END 4 */

void mainFunction(void *argument)
{
  /* USER CODE BEGIN 5 */
	osDelay(200);
	//char msg[100] = "MAIN FUNCTION THREAD\n";
	TickType_t MUTEX_WAIT = 1000;
	osStatus status;
  /* Infinite loop */
  for(;;)
  {	//SerialPrint("MAIN FUNCTION THREAD\n");
	 //HAL_UART_Transmit(&huart2, (uint8_t *)msg,strlen(msg), 100);

    osDelay(1000);
  }
  /* USER CODE END 5 */
}

void valveFunction(void *argument)
{
  /* USER CODE BEGIN valveFunction */
	osDelay(200);
	VALVE_MODE_FULL_CW();
	//char msg[100] = "VALVE FUNCTION THREAD\n";
	//TickType_t MUTEX_WAIT = 1000;
	//osStatus status;
	int count = 0, flag = 0;
  /* Infinite loop */
  for(;;)
  {
	if(count == 0){
		flag = 1;
	}
	else if(count == 250){
		flag = 0;
	}

	if(flag == 1){
		VALVE_CONTROL_CW_STEP(1, &valve);
		count++;
	}
	else{
		VALVE_CONTROL_CCW_STEP(1, &valve);
		count--;
	}
    osDelay(50);
  }
  /* USER CODE END valveFunction */
}

void uartFunction(void *argument)
{
  /* USER CODE BEGIN uartFunction */
	  osDelay(1000);
	  MX_USART1_UART_Init();
	  FLAG_UART = 0x00;
	  SET_CTS;
	  SET_RTS;

	  GPIOB->BSRR = (1U << (16 + 8));
	  GPIOA->BSRR = (1U << (16));
	  osDelay(1000);
	  GPIOA->BSRR = (1U << (0));
	  GPIOB->BSRR = (1U << 8); // Enable ESP
	  T_CS_SET;
	  osDelay(1000);

	  if(esp.rx_status == HAL_OK && esp.tx_status == HAL_OK){
		  for(;;)
			{
			  if((FLAG_UART & ESP_MSG_ACK) && !(GPIOA->IDR & GPIO_IDR_ID7)){
				  ESP_UART_ACK(&esp);

			  }
			  else if(!(GPIOA->IDR & GPIO_IDR_ID6) && !(FLAG_UART & ESP_RTS)){
				  ESP_START_PROTOCOL(&esp);

			  }
			  ESP_HAND_SHAKE_HANDLE(&esp);

			 if(FLAG_UART != ESP_UART_RELEASE_MUTEX){
				 osMutexRelease(HUART1Handle);
				 FLAG_UART &= ~(ESP_UART_RELEASE_MUTEX);
			 }
			 //SerialPrint("UART THREAD\n");
			 osDelay(2000);
		   }
	  }

  /* USER CODE END uartFunction */
}

void ds18b20Function(void *argument)
{
  /* USER CODE BEGIN ds18b20Function */
	osDelay(200);
	char temperature[100];
	memset(temperature, 0, sizeof(temperature));
	//TickType_t MUTEX_WAIT = 1000;
	uint8_t prio = 5;
	//osStatus status;
	char *ptr;
  //char msg[100] = "DS18B20 FUNCTION THREAD\n";
  /* Infinite loop */
  for(;;)
  {
	terminal_temp = ds18b20_get_temperature(&ds18b20_terminal, false, &huart2);
	hot_temp = ds18b20_get_temperature(&ds18b20_hot, false, &huart2);

	ds18b20_terminal.delta = terminal_temp - ds18b20_terminal.temperature;
	ds18b20_hot.delta = hot_temp - ds18b20_hot.temperature;

	ds18b20_terminal.temperature = terminal_temp;
	ds18b20_hot.temperature = hot_temp;

	getFloatString(temperature, ds18b20_hot.temperature);
	ptr = temperature;
	osMessageQueuePut(DS18B20_BUFFERHandle, &ptr, prio, osWaitForever);

	getFloatString(temperature, ds18b20_terminal.temperature);
	ptr = temperature;
	osMessageQueuePut(DS18B20_BUFFERHandle, &ptr, prio, osWaitForever);
	//SerialPrint("DS18B20 THREAD\n");
    osDelay(4000);
  }
  /* USER CODE END ds18b20Function */
}

void HUART_WORKER_TRANSMIT(void *argument)
{
  /* USER CODE BEGIN HUART_WORKER_TRANSMIT */
  /* Infinite loop */
  for(;;)
  {	//SerialPrint("HUART WORKER TRANSMIT THREAD \n");
    osDelay(2000);
  }
  /* USER CODE END HUART_WORKER_TRANSMIT */
}

void HUART_WORKER_RECIVE(void *argument)
{
  /* USER CODE BEGIN HUART_WORKER_RECIVE */
  osStatus_t status;
  uint8_t prio = 5;
  char *ptr;
  /* Infinite loop */
  for(;;)
  {
		//SerialPrint("HUART WORKER RECEIVE THREAD\n");
	status = osMessageQueueGet(ESP_BUFFER_REHandle, &ptr, &prio, osWaitForever);
	if(status == osOK){
		strcpy(cmd.cmd_all, ptr);
		PARSE_COMMAND(&cmd);
		//print_CMD(&huart2, &cmd);
	}
    osDelay(100);
  }
  /* USER CODE END HUART_WORKER_RECIVE */
}

void DS18B20_WORKER_TR(void *argument)
{
  /* USER CODE BEGIN DS18B20_WORKER_TR */
	osStatus_t status;
	uint8_t prio = 5;
	char *ptr;
  /* Infinite loop */
  for(;;)
  {
	 // SerialPrint("DS18B20 WORKER TRANSMIT THREA\n");
	//status = osMessageQueueGet(DS18B20_BUFFERHandle, &ptr, &prio, osWaitForever);
	//if(status == osOK){
		//osMutexAcquire()
	//}
    osDelay(10000);
  }
  /* USER CODE END DS18B20_WORKER_TR */
}

void StartTask08(void *argument)
{
  /* USER CODE BEGIN StartTask08 */
  /* Infinite loop */
  for(;;)
  {
	//SerialPrint("START TASK 08 THREAD \n");
    osDelay(2000);
  }
  /* USER CODE END StartTask08 */
}

void SCREEN_WORKER_RECEIVE(void *argument)
{
  /* USER CODE BEGIN SCREEN_WORKER_RECEIVE */
  /* Infinite loop */
  for(;;)
  {
	//SerialPrint("SCREEN WORKER RECEIVE THREAD\n");
    osDelay(2000);
  }
  /* USER CODE END SCREEN_WORKER_RECEIVE */
}

void SCREEN_WORKER_TRANSMIT(void *argument)
{
  /* USER CODE BEGIN SCREEN_WORKER_TRANSMIT */
  /* Infinite loop */
  for(;;)
  {
	 // ESP_RECEIVEHandle
	//osEventFlagsWait(ESP_RECEIVEHandle);
	//SerialPrint("SCREEN WORKER TRANSMIT THREAD\n");
    osDelay(2000);
  }
  /* USER CODE END SCREEN_WORKER_TRANSMIT */
}

void BACKUP_FUNCTION(void *argument)
{
  /* USER CODE BEGIN BACKUP_FUNCTION */
  /* Infinite loop */
  for(;;)
  {
	//SerialPrint("BACKUP FUNCTION THREAD\n");
    osDelay(2000);
  }
  /* USER CODE END BACKUP_FUNCTION */
}

void BACKUP_WORKER_RECEIVE(void *argument)
{
  /* USER CODE BEGIN BACKUP_WORKER_RECEIVE */
  /* Infinite loop */
  for(;;)
  {
	//SerialPrint("BACKUP WORKER RECEIVE THREAD\n");
    osDelay(2000);
  }
  /* USER CODE END BACKUP_WORKER_RECEIVE */
}

void BACKUP_WORKER_TRANSMIT(void *argument)
{
  /* USER CODE BEGIN BACKUP_WORKER_TRANSMIT */
  /* Infinite loop */
  for(;;)
  {
	//SerialPrint("BACKUP WORKER TRANSMIT THREAD\n");
    osDelay(2000);
  }
  /* USER CODE END BACKUP_WORKER_TRANSMIT */
}

void VALVE_WORKER_RECEIVE(void *argument)
{
  /* USER CODE BEGIN VALVE_WORKER_RECEIVE */
  /* Infinite loop */
  for(;;)
  {
	//SerialPrint("VALVE WORKER RECEIVE THREAD\n");
    osDelay(2000);
  }
  /* USER CODE END VALVE_WORKER_RECEIVE */
}

void ScreenFunction(void *argument)
{
  /* USER CODE BEGIN ScreenFunction */
	uint8_t canvas_count = 60;
	uint8_t pages_count = 2;

//hspi4
	//flag = osEventFlagsWait(TOUCH_SCREEN_FLAGHandle, flag_all, osFlagsWaitAny, 0);
  /* Infinite loop */
  CANVAS_POOLHandle = osMemoryPoolNew(canvas_count, sizeof(Canvas_t), NULL);
  SETTINGS_POOLHandle = osMemoryPoolNew(canvas_count, sizeof(struct CanvasConf_t), NULL);
  PAGE_POOLHandle = osMemoryPoolNew(pages_count, sizeof(Page_t), NULL);
  NODE_POOLHandle = osMemoryPoolNew(canvas_count, sizeof(struct _nodeCanvas), NULL);
  //uint32_t flag;
  //uint32_t index = (0x03)<<30;
  //uint32_t flag_all = 0xFFFFFFFF & ~(0x01);

  /*Initialize Screen, View and Canvas*/

  //GUI_INIT(&screen);

  //LCD_DrawPage1();
  if(SCREEN_INIT() != 0) return;
  //LCD_UpdateTemperature(&ds18b20_terminal, ds18b20_terminal.temperature);
  //LCD_UpdateTemperature(&ds18b20_hot, ds18b20_hot.temperature);
  for(;;)
  {
	//GUI_DRAW_PAGE(screen.home_page);
	SerialPrint("LOOPING\n");
	GUI_HANDLE();
    osDelay(500);
  }
  /* USER CODE END ScreenFunction */
}

void TouchScreenFunction(void *argument)
{
  /* USER CODE BEGIN TouchScreenFunction */
  /* Infinite loop */
  Scan scan_reading;
  scan_reading.x = 16;
  scan_reading.y = 50;
  char s[40];
  uint32_t f = 0;
  for(;;)
  {
	f = osEventFlagsWait(TOUCH_SCREEN_FLAGHandle, 0x01, osFlagsWaitAny, osWaitForever);
	if(f & SCAN_PAD){
		scan(&hspi4, &scan_reading);

		if(scan_reading.x > 0){
			sprintf(s, "rx-> %d | ry -> %d\n", (int)scan_reading.x, (int)scan_reading.y);
			SerialPrint(s);
		}
	}
	else{
		print_OS_Status((osThreadState_t)flag);
		SerialPrint("TouchScreenFunction -> FAILED TO GET FLAG\n");
	}
	osEventFlagsClear(TOUCH_SCREEN_FLAGHandle, (uint32_t)SCAN_PAD);
    osDelay(100);
  }
  /* USER CODE END TouchScreenFunction */
}

void PRINT(void *argument)
{
  /* USER CODE BEGIN PRINT */
	//osMessageQueueId_t SerialBufferHandle;
	osStatus_t status;
	uint8_t prio = 5;
	char *ptr;
  /* Infinite loop */
  for(;;)
  {
	status = osMessageQueueGet(SerialBufferHandle, &ptr, &prio, osWaitForever);
	if(status == osOK){
		if(osMutexAcquire(HUART2Handle, osWaitForever) == osOK){
			HAL_UART_Transmit(&huart2, (uint8_t *)ptr, strlen(ptr), 100);
			osMutexRelease(HUART2Handle);
		}
	}
	else{
		print_OS_Status(status);
	}
    osDelay(50);
  }
  /* USER CODE END PRINT */
}

void HAL_TIM_PeriodElapsedCallback(TIM_HandleTypeDef *htim)
{
  if (htim->Instance == TIM1) {
    HAL_IncTick();
  }
}

void Error_Handler(void)
{
  __disable_irq();
  while (1)
  {
  }
}
